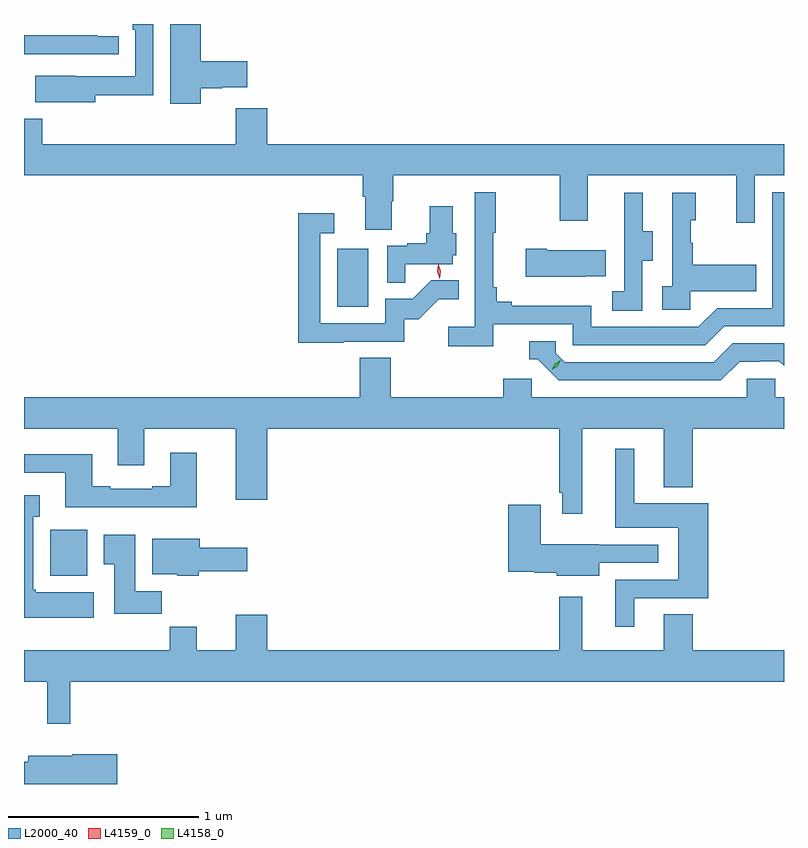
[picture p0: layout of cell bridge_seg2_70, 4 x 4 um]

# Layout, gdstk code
import gdstk
lib = gdstk.Library(unit=1e-6, precision=1e-09)
def R(c, l, rs):  # rectangles x0, y0, x1, y1
    for r in rs: c.add(gdstk.rectangle(r[:2], r[2:], *l))
def P(c, l, *ps):  # polygons
    for p in ps: c.add(gdstk.Polygon(p, *l))
L2000_40 = (2000, 40)
L4158_0 = (4158, 0)
L4159_0 = (4159, 0)

bridge_seg2_70 = lib.new_cell('bridge_seg2_70')
R(bridge_seg2_70, L2000_40, [(895.298,657.518,895.495,657.76), (896.81,658.932,896.974,659.239)])
P(bridge_seg2_70, L2000_40, [(896.092,660.082),(896.205,660.082),(896.205,660.089),(896.335,660.089),(896.335,660.224),(896.092,660.224),(896.092,660.421),(895.931,660.421),(895.931,660),(896.092,660)],
  [(895.537,660.046),(895.842,660.046),(895.842,660.421),(895.733,660.421),(895.733,660.392),(895.746,660.392),(895.746,660.147),(895.433,660.147),(895.433,660.148),(895.219,660.148),(895.219,660.008),(895.537,660.008)],
  [(895.66,660.357),(895.547,660.357),(895.547,660.362),(895.161,660.362),(895.161,660.261),(895.66,660.261)],
  [(897.097,659.487),(897.105,659.487),(897.105,659.624),(897.982,659.624),(897.982,659.385),(898.129,659.385),(898.129,659.624),(898.91,659.624),(898.91,659.376),(899.007,659.376),(899.007,659.624),(899.161,659.624),(899.161,659.788),(896.44,659.788),(896.44,659.977),(896.276,659.977),(896.276,659.788),(895.256,659.788),(895.256,659.923),(895.161,659.923),(895.161,659.624),(896.945,659.624),(896.945,659.512),(896.957,659.512),(896.957,659.338),(897.097,659.338)],
  [(897.632,658.842),(898.05,658.842),(898.05,658.731),(898.747,658.731),(898.846,658.83),(899.161,658.83),(899.161,659.535),(899.1,659.535),(899.1,658.926),(898.809,658.926),(898.71,658.827),(898.146,658.827),(898.146,658.939),(897.727,658.939),(897.727,658.958),(897.65,658.958),(897.65,659.035),(897.631,659.035),(897.631,659.323),(897.643,659.323),(897.643,659.536),(897.534,659.536),(897.534,658.828),(897.393,658.828),(897.393,658.726),(897.632,658.726)],
  [(898.668,659.015),(899.015,659.015),(899.015,659.155),(898.681,659.155),(898.681,659.27),(898.671,659.27),(898.671,659.388),(898.696,659.388),(898.696,659.533),(898.572,659.533),(898.572,659.042),(898.521,659.042),(898.521,658.917),(898.668,658.917)],
  [(898.416,659.176),(898.471,659.176),(898.471,659.331),(898.417,659.331),(898.417,659.533),(898.319,659.533),(898.319,659.319),(898.32,659.319),(898.32,659.015),(898.257,659.015),(898.257,658.912),(898.416,658.912)],
  [(897.167,659.157),(897.418,659.157),(897.418,659.205),(897.436,659.205),(897.436,659.319),(897.418,659.319),(897.418,659.461),(897.296,659.461),(897.296,659.319),(897.278,659.319),(897.278,659.266),(897.179,659.266),(897.179,659.253),(897.072,659.253),(897.072,659.059),(897.167,659.059)],
  [(896.843,658.749),(897.162,658.749),(897.162,658.866),(897.238,658.866),(897.345,658.973),(897.449,658.973),(897.449,659.072),(897.305,659.072),(897.207,658.974),(897.063,658.974),(897.063,658.845),(896.721,658.845),(896.721,659.319),(896.794,659.319),(896.794,659.425),(896.605,659.425),(896.605,658.744),(896.843,658.744)],
  [(898.115,659.093),(898.223,659.093),(898.223,659.23),(897.913,659.23),(897.913,659.238),(897.801,659.238),(897.801,659.09),(898.115,659.09)],
  [(898.927,658.644),(899.034,658.644),(899.034,658.647),(899.137,658.647),(899.161,658.623),(899.161,658.74),(898.89,658.74),(898.791,658.641),(898.008,658.641),(897.96,658.689),(897.96,658.752),(897.821,658.752),(897.821,658.656),(897.864,658.656),(897.975,658.545),(898.828,658.545)],
  [(898.099,658.292),(898.529,658.292),(898.529,657.983),(898.682,657.983),(898.682,658.292),(899.161,658.292),(899.161,658.456),(899.115,658.456),(899.115,658.554),(898.965,658.554),(898.965,658.456),(897.834,658.456),(897.834,658.554),(897.683,658.554),(897.683,658.456),(897.092,658.456),(897.092,658.664),(896.927,658.664),(896.927,658.456),(895.161,658.456),(895.161,658.292),(895.655,658.292),(895.655,658.098),(895.795,658.098),(895.795,658.292),(896.276,658.292),(896.276,657.918),(896.44,657.918),(896.44,658.292),(897.978,658.292),(897.978,657.955),(897.995,657.955),(897.995,657.843),(898.099,657.843)],
  [(898.372,657.399),(898.763,657.399),(898.763,657.898),(898.372,657.898),(898.372,658.186),(898.274,658.186),(898.274,657.77),(898.604,657.77),(898.604,657.495),(898.274,657.495),(898.274,657.249),(898.372,657.249)],
  [(896.071,658.165),(895.931,658.165),(895.931,657.988),(895.835,657.988),(895.835,657.975),(895.615,657.975),(895.615,657.988),(895.519,657.988),(895.519,658.156),(895.161,658.156),(895.161,658.059),(895.379,658.059),(895.379,657.878),(896.071,657.878)],
  [(895.528,657.43),(895.224,657.43),(895.224,657.444),(895.21,657.444),(895.21,657.827),(895.243,657.827),(895.243,657.94),(895.161,657.94),(895.161,657.296),(895.528,657.296)],
  [(898.189,657.585),(898.498,657.585),(898.498,657.681),(898.185,657.681),(898.185,657.682),(897.88,657.682),(897.88,657.892),(897.71,657.892),(897.71,657.539),(897.846,657.539),(897.846,657.532),(897.966,657.532),(897.966,657.518),(898.189,657.518)],
  [(895.886,657.436),(895.747,657.436),(895.747,657.733),(895.58,657.733),(895.58,657.577),(895.637,657.577),(895.637,657.318),(895.886,657.318)],
  [(896.082,657.542),(896.335,657.542),(896.335,657.664),(896.086,657.664),(896.086,657.712),(895.835,657.712),(895.835,657.524),(895.968,657.524),(895.968,657.518),(896.082,657.518)],
  [(895.405,656.96),(899.161,656.96),(899.161,657.124),(898.682,657.124),(898.682,657.314),(898.529,657.314),(898.529,657.124),(898.099,657.124),(898.099,657.406),(897.978,657.406),(897.978,657.124),(896.44,657.124),(896.44,657.313),(896.276,657.313),(896.276,657.124),(896.071,657.124),(896.071,657.248),(895.927,657.248),(895.927,657.124),(895.161,657.124),(895.161,656.96),(895.283,656.96),(895.283,656.739),(895.405,656.739)],
  [(895.651,656.577),(895.416,656.577),(895.416,656.569),(895.184,656.569),(895.184,656.537),(895.161,656.537),(895.161,656.421),(895.651,656.421)])
P(bridge_seg2_70, L4158_0, [(897.938,658.602),(897.938,658.602),(897.954,658.634),(897.985,658.654),(897.986,658.654),(897.986,658.653),(897.969,658.621),(897.938,658.602)])
P(bridge_seg2_70, L4159_0, [(897.349,659.079),(897.335,659.118),(897.34,659.159),(897.34,659.159),(897.34,659.159),(897.355,659.12),(897.35,659.079),(897.35,659.079)])

lib.write_gds('bridge_seg2_70.gds')
